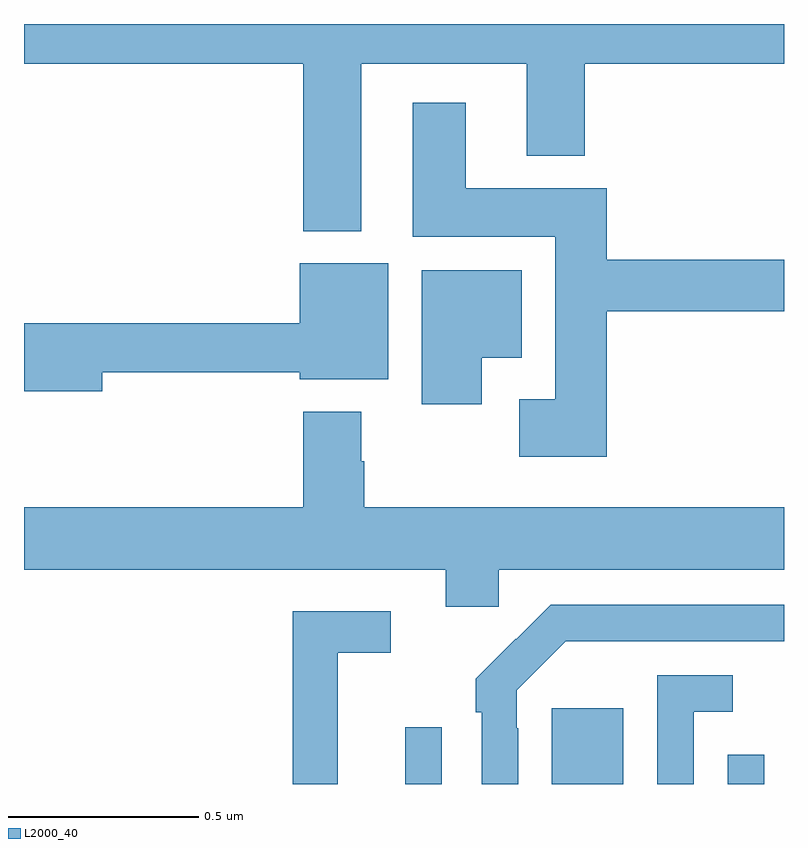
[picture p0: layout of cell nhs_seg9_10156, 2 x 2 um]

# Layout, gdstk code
import gdstk
lib = gdstk.Library(unit=1e-6, precision=1e-09)
def R(c, l, rs):  # rectangles x0, y0, x1, y1
    for r in rs: c.add(gdstk.rectangle(r[:2], r[2:], *l))
def P(c, l, *ps):  # polygons
    for p in ps: c.add(gdstk.Polygon(p, *l))
L2000_40 = (2000, 40)

nhs_seg9_10156 = lib.new_cell('nhs_seg9_10156')
R(nhs_seg9_10156, L2000_40, [(240.003,1218.5,240.099,1218.649), (240.389,1218.5,240.577,1218.7), (240.852,1218.5,240.948,1218.577)])
P(nhs_seg9_10156, L2000_40, [(239,1220.396),(239.735,1220.396),(239.735,1219.955),(239.887,1219.955),(239.887,1220.396),(240.323,1220.396),(240.323,1220.153),(240.476,1220.153),(240.476,1220.396),(241,1220.396),(241,1220.5),(239,1220.5)],
  [(240.533,1219.744),(241,1219.744),(241,1219.88),(240.533,1219.88),(240.533,1220.068),(240.163,1220.068),(240.163,1220.293),(240.023,1220.293),(240.023,1219.94),(240.398,1219.94),(240.398,1219.513),(240.303,1219.513),(240.303,1219.361),(240.533,1219.361)],
  [(239.206,1219.584),(239.726,1219.584),(239.726,1219.565),(239.959,1219.565),(239.959,1219.87),(239.726,1219.87),(239.726,1219.712),(239,1219.712),(239,1219.534),(239.206,1219.534)],
  [(240.205,1219.622),(240.31,1219.622),(240.31,1219.852),(240.047,1219.852),(240.047,1219.5),(240.205,1219.5)],
  [(240.249,1219.064),(241,1219.064),(241,1219.228),(239.895,1219.228),(239.895,1219.349),(239.887,1219.349),(239.887,1219.48),(239.735,1219.48),(239.735,1219.228),(239,1219.228),(239,1219.064),(240.11,1219.064),(240.11,1218.966),(240.249,1218.966)],
  [(240.3,1218.647),(240.297,1218.647),(240.297,1218.747),(240.426,1218.876),(241,1218.876),(241,1218.972),(240.386,1218.972),(240.295,1218.881),(240.294,1218.882),(240.189,1218.777),(240.189,1218.689),(240.204,1218.689),(240.204,1218.5),(240.3,1218.5)],
  [(239.825,1218.846),(239.965,1218.846),(239.965,1218.954),(239.707,1218.954),(239.707,1218.5),(239.825,1218.5)],
  [(240.762,1218.69),(240.865,1218.69),(240.865,1218.786),(240.666,1218.786),(240.666,1218.5),(240.762,1218.5)])

lib.write_gds('nhs_seg9_10156.gds')
